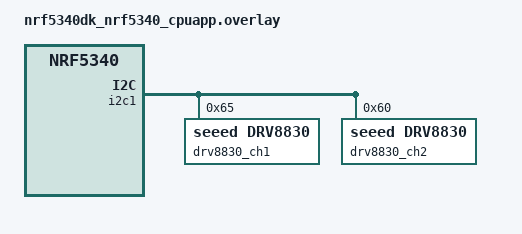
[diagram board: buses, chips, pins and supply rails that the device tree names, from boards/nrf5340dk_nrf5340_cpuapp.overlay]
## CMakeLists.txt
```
cmake_minimum_required(VERSION 3.20.0)
find_package(Zephyr REQUIRED HINTS $ENV{ZEPHYR_BASE})

project(i2c_scanner)

target_sources(app PRIVATE src/main.c)
target_sources(app PRIVATE src/grove_drv8830/drv8830_driver.c)


include_directories(src/)
include_directories(src/grove_drv8830/)
```

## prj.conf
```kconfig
CONFIG_I2C=y
CONFIG_GPIO=y
CONFIG_SHELL=y
CONFIG_I2C_SHELL=y
```

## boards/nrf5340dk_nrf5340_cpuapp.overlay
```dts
// To get started, press Ctrl+Space to bring up the completion menu and view the available nodes.

// You can also use the buttons in the sidebar to perform actions on nodes.
// Actions currently available include:

// * Enabling / disabling the node
// * Adding the bus to a bus
// * Removing the node
// * Connecting ADC channels

// For more help, browse the DeviceTree documentation at https://docs.zephyrproject.org/latest/guides/dts/index.html
// You can also visit the nRF DeviceTree extension documentation at https://docs.nordicsemi.com/bundle/nrf-connect-vscode/page/guides/ncs_configure_app.html#devicetree-support-in-the-extension


&i2c1{
    status = "okay";
    compatible = "nordic,nrf-twim";
    pinctrl-0 = <&i2c1_default>;
    pinctrl-1 = <&i2c1_sleep>;
    pinctrl-names = "default", "sleep";
    drv8830_ch1: drv8830@65 {
        compatible = "seeed,drv8830";
        reg = <0x65>;
        status = "okay";
    };

    drv8830_ch2: drv8830@60 {
        compatible = "seeed,drv8830";
        reg = <0x60>;
        status = "okay";
    };
}; 
```

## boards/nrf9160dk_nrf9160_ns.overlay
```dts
// To get started, press Ctrl+Space to bring up the completion menu and view the available nodes.

// You can also use the buttons in the sidebar to perform actions on nodes.
// Actions currently available include:

// * Enabling / disabling the node
// * Adding the bus to a bus
// * Removing the node
// * Connecting ADC channels

// For more help, browse the DeviceTree documentation at https://docs.zephyrproject.org/latest/guides/dts/index.html
// You can also visit the nRF DeviceTree extension documentation at https://docs.nordicsemi.com/bundle/nrf-connect-vscode/page/guides/ncs_configure_app.html#devicetree-support-in-the-extension


&i2c2{
    status = "okay";
    compatible = "nordic,nrf-twim";
    pinctrl-0 = <&i2c2_default>;
    pinctrl-1 = <&i2c2_sleep>;
    pinctrl-names = "default", "sleep";
    drv8830_ch1: drv8830@65 {
        compatible = "seeed,drv8830";
        reg = <0x65>;
        status = "okay";
    };

    drv8830_ch2: drv8830@60 {
        compatible = "seeed,drv8830";
        reg = <0x60>;
        status = "okay";
    };
}; 
```

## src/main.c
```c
#include <stdlib.h>
#include <zephyr/kernel.h>
#include <zephyr/device.h>
#include <zephyr/sys/printk.h>
#include <zephyr/shell/shell.h>
#include <zephyr/devicetree.h>
#include <zephyr/drivers/gpio.h>

#include "main.h"
#include "drv8830_driver.h"

// Define the motor run time in seconds
#define MOTOR_RUN_TIME_SEC 5 
#define MOTOR_SPEED	255  // 0-255

// Define button nodes
#define SW0_NODE DT_ALIAS(sw0)
#define SW1_NODE DT_ALIAS(sw1) 

// Define button GPIO specs
static const struct gpio_dt_spec button0 = GPIO_DT_SPEC_GET(SW0_NODE, gpios);
static const struct gpio_dt_spec button1 = GPIO_DT_SPEC_GET(SW1_NODE, gpios);

// Define button callback data
static struct gpio_callback button0_cb_data;
static struct gpio_callback button1_cb_data;

// Flags for button presses and motor state
static bool button0_pressed_flag = false;
static bool button1_pressed_flag = false;
static bool motor_running = false;

// Button 0 callback function
void button0_pressed(const struct device *dev, struct gpio_callback *cb, uint32_t pins)
{
    // printk("Button 0 pressed \n");
    button0_pressed_flag = true;

}

// Button 1 callback function
void button1_pressed(const struct device *dev, struct gpio_callback *cb, uint32_t pins)
{
    // printk("Button 1 pressed \n");
    button1_pressed_flag = true;
}
int main(void)
{
    int ret;

    // Initialize button 0
    if (!device_is_ready(button0.port)) {
		return -1;
	}
    ret = gpio_pin_configure_dt(&button0, GPIO_INPUT);
	if (ret < 0) {
		return -1;
	}
    ret = gpio_pin_interrupt_configure_dt(&button0, GPIO_INT_EDGE_TO_ACTIVE);
    gpio_init_callback(&button0_cb_data, button0_pressed, BIT(button0.pin));
    gpio_add_callback(button0.port, &button0_cb_data);

    // Initialize button 1
    if (!device_is_ready(button1.port)) {
		return -1;
	}
    ret = gpio_pin_configure_dt(&button1, GPIO_INPUT);
	if (ret < 0) {
		return -1;
	}
    ret = gpio_pin_interrupt_configure_dt(&button1, GPIO_INT_EDGE_TO_ACTIVE);
    gpio_init_callback(&button1_cb_data, button1_pressed, BIT(button1.pin));
    gpio_add_callback(button1.port, &button1_cb_data);

    // Motor Driver Init
    drv8830_i2c_init();
    drv8830_channel_init(DRV8830_CH1);
    drv8830_channel_init(DRV8830_CH2);


    while (1)
    {
        // Check for button presses and handle motor logic
        if (button0_pressed_flag && !motor_running) {
            // printk("Button 0 pressed - Motor Reverse\n");
            drv8830_set_motor_rotation(DRV8830_CH1, MOTOR_SPEED, DRV8830_MODE_REVERSE);
            motor_running = true;
            k_sleep(K_SECONDS(MOTOR_RUN_TIME_SEC));
            drv8830_stop_motors(DRV8830_CH1);
            motor_running = false;
            // printk("Motor stopped.\n");
            button0_pressed_flag = false; // Reset the flag
            button1_pressed_flag = false;
        } else if (button1_pressed_flag && !motor_running) {
            // printk("Button 1 pressed - Motor Forward\n");
            drv8830_set_motor_rotation(DRV8830_CH1, MOTOR_SPEED, DRV8830_MODE_FORWARD);
            motor_running = true;
            k_sleep(K_SECONDS(MOTOR_RUN_TIME_SEC));
            drv8830_stop_motors(DRV8830_CH1);
            motor_running = false;
            // printk("Motor stopped.\n");
            button1_pressed_flag = false; // Reset the flag
            button0_pressed_flag = false;
        }

        k_sleep(K_MSEC(10)); // Short sleep to avoid busy waiting
    }
    
    return 0;
}

// Function to handle the 'forward' command
static int cmd_motor_forward(const struct shell *sh, size_t argc, char **argv)
{
    // Assuming DRV8830_CH1 is the desired channel and 127 is the desired speed
    drv8830_set_motor_rotation(DRV8830_CH1, MOTOR_SPEED, DRV8830_MODE_FORWARD);
    // shell_print(sh, "Rotating motor forward for 5 seconds...");
    k_sleep(K_SECONDS(MOTOR_RUN_TIME_SEC)); // Wait for 5 seconds
    drv8830_stop_motors(DRV8830_CH1);
    // shell_print(sh, "Motor stopped.");

    return 0;
}

// Function to handle the 'reverse' command
static int cmd_motor_reverse(const struct shell *sh, size_t argc, char **argv)
{
    // Assuming DRV8830_CH1 is the desired channel and 127 is the desired speed
    drv8830_set_motor_rotation(DRV8830_CH1, MOTOR_SPEED, DRV8830_MODE_REVERSE);
    // shell_print(sh, "Rotating motor reverse for 5 seconds...");
    k_sleep(K_SECONDS(MOTOR_RUN_TIME_SEC)); // Wait for 5 seconds
    drv8830_stop_motors(DRV8830_CH1);
    // shell_print(sh, "Motor stopped.");

    return 0;
}

// Creating root commands 'forward' and 'reverse'
SHELL_CMD_REGISTER(1, NULL, "Rotate motor forward for 5 seconds.", cmd_motor_forward);
SHELL_CMD_REGISTER(0, NULL, "Rotate motor reverse for 5 seconds.", cmd_motor_reverse);
```

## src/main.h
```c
/**
 * @file main.h
 * @author Parth Sanepara
 * @brief 
 * @version 0.1
 * @date 2024-09-05
 * 
 * @copyright Copyright (c) 2024
 * 
 */
#ifndef MAIN_H_
#define MAIN_H_

#endif /* MAIN_H_ */
```
